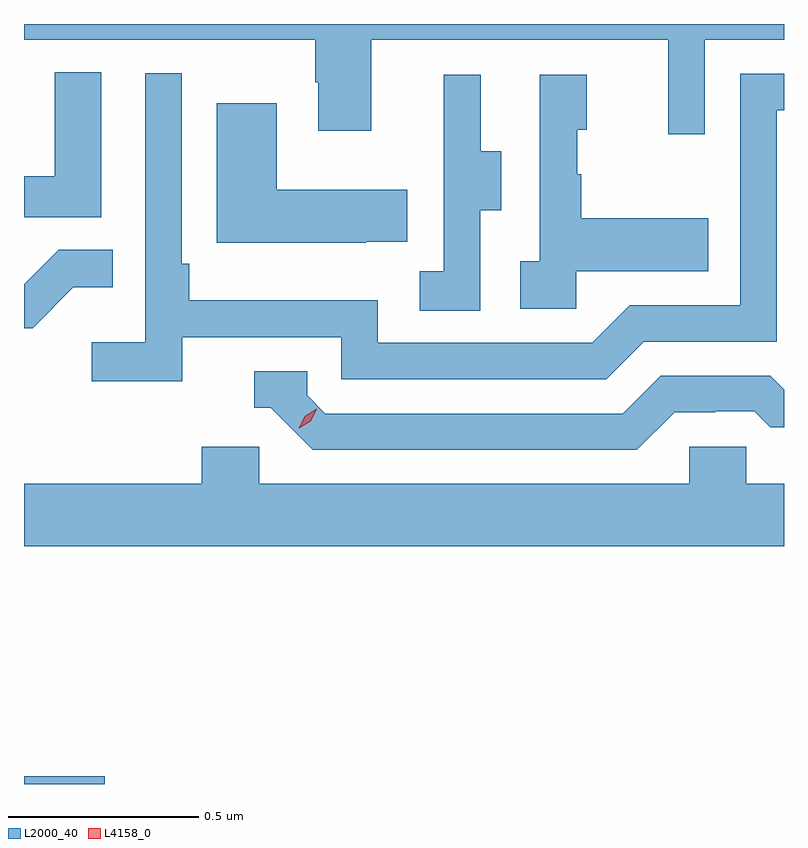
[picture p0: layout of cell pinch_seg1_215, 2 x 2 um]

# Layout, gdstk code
import gdstk
lib = gdstk.Library(unit=1e-6, precision=1e-09)
def R(c, l, rs):  # rectangles x0, y0, x1, y1
    for r in rs: c.add(gdstk.rectangle(r[:2], r[2:], *l))
def P(c, l, *ps):  # polygons
    for p in ps: c.add(gdstk.Polygon(p, *l))
L2000_40 = (2000, 40)
L4158_0 = (4158, 0)

pinch_seg1_215 = lib.new_cell('pinch_seg1_215')
R(pinch_seg1_215, L2000_40, [(950.717,577.746,950.929,577.766)])
P(pinch_seg1_215, L2000_40, [(952.509,579.704),(952.717,579.704),(952.717,579.746),(950.717,579.746),(950.717,579.704),(951.484,579.704),(951.484,579.593),(951.491,579.593),(951.491,579.465),(951.631,579.465),(951.631,579.704),(952.412,579.704),(952.412,579.456),(952.509,579.456)],
  [(950.92,579.619),(950.798,579.619),(950.798,579.346),(950.717,579.346),(950.717,579.237),(950.92,579.237)],
  [(951.134,578.922),(951.552,578.922),(951.552,578.811),(952.249,578.811),(952.348,578.91),(952.698,578.91),(952.698,579.519),(952.717,579.519),(952.717,579.615),(952.602,579.615),(952.602,579.006),(952.311,579.006),(952.212,578.907),(951.648,578.907),(951.648,579.019),(951.152,579.019),(951.152,579.115),(951.132,579.115),(951.132,579.616),(951.036,579.616),(951.036,578.908),(950.895,578.908),(950.895,578.806),(951.134,578.806)],
  [(951.918,579.256),(951.973,579.256),(951.973,579.411),(951.919,579.411),(951.919,579.613),(951.821,579.613),(951.821,579.399),(951.822,579.399),(951.822,579.095),(951.759,579.095),(951.759,578.992),(951.918,578.992)],
  [(952.17,579.095),(952.517,579.095),(952.517,579.235),(952.183,579.235),(952.183,579.35),(952.173,579.35),(952.173,579.468),(952.198,579.468),(952.198,579.613),(952.074,579.613),(952.074,579.122),(952.023,579.122),(952.023,578.997),(952.17,578.997)],
  [(951.617,579.173),(951.725,579.173),(951.725,579.31),(951.382,579.31),(951.382,579.538),(951.224,579.538),(951.224,579.17),(951.617,579.17)],
  [(950.847,579.053),(950.951,579.053),(950.951,579.152),(950.808,579.152),(950.717,579.061),(950.717,578.946),(950.74,578.946)],
  [(952.429,578.724),(952.536,578.724),(952.536,578.727),(952.639,578.727),(952.681,578.685),(952.717,578.685),(952.717,578.784),(952.681,578.82),(952.392,578.82),(952.293,578.721),(951.51,578.721),(951.462,578.769),(951.462,578.832),(951.323,578.832),(951.323,578.736),(951.366,578.736),(951.477,578.625),(952.33,578.625)],
  [(952.717,578.536),(952.617,578.536),(952.617,578.634),(952.467,578.634),(952.467,578.536),(951.336,578.536),(951.336,578.634),(951.185,578.634),(951.185,578.536),(950.717,578.536),(950.717,578.372),(952.717,578.372)])
P(pinch_seg1_215, L4158_0, [(951.44,578.682),(951.44,578.682),(951.456,578.714),(951.487,578.734),(951.488,578.734),(951.488,578.734),(951.471,578.701),(951.441,578.682)])

lib.write_gds('pinch_seg1_215.gds')
